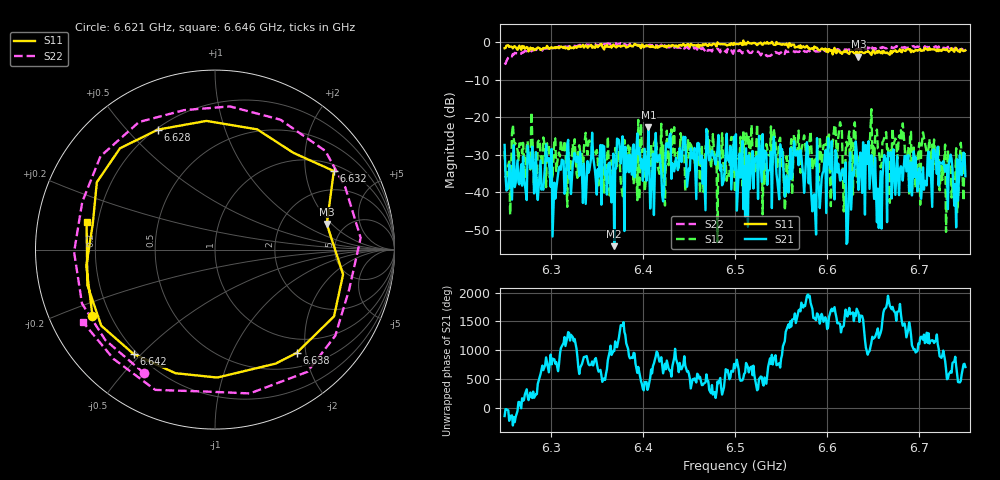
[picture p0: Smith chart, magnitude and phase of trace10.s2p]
# Hz S RI R 50
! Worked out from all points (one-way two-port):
!   401 points, 6.25 GHz to 6.75 GHz, reference 50 ohm
!   highest |S21| = -22.66 dB at 6.406 GHz (marker M1); lowest = -54.4 dB at 6.369 GHz (marker M2)
!   lowest |S11| = -3.9 dB at 6.634 GHz (marker M3), VSWR 4.54, Z = 182 + j87.6 ohm
!   |S11| at or under -10 dB: nowhere
!   |S22| runs from -5.8 to 0.0 dB; largest |S21 - S12| = 0.13
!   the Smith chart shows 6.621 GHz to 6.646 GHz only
!   S11 on the Smith chart (normalised r, x): 6.621 GHz: 0.13, -0.25; 6.628 GHz: 0.21, +0.61; 6.632 GHz: 1.21, +2.86; 6.638 GHz: 0.74, -1.83; 6.642 GHz: 0.19, -0.47; 6.646 GHz: 0.16, +0.10
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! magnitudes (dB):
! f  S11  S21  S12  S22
! 6.25 GHz  -1.6  -27.4  -29.0  -5.5
! 6.334 GHz  -1.1  -35.1  -28.9  -0.8
! 6.369 GHz  -1.1  -54.4  -32.7  -0.4
! 6.375 GHz  -1.0  -28.5  -32.2  -0.5
! 6.406 GHz  -1.1  -22.7  -32.7  -0.8
! 6.418 GHz  -1.3  -30.0  -35.1  -1.1
! 6.5 GHz  -0.6  -34.0  -40.1  -2.5
! 6.541 GHz  -0.2  -30.0  -30.9  -3.0
! 6.556 GHz  -0.4  -35.5  -30.4  -2.6
! 6.566 GHz  -1.3  -30.2  -29.4  -2.5
! 6.584 GHz  -1.6  -45.1  -34.0  -2.4
! 6.604 GHz  -2.3  -33.9  -43.7  -2.3
! 6.621 GHz  -2.2  -53.8  -26.5  -2.0
! 6.628 GHz  -2.6  -34.6  -40.6  -1.7
! 6.632 GHz  -2.0  -29.2  -36.6  -1.8
! 6.634 GHz  -3.9  -39.4  -38.1  -1.7
! 6.638 GHz  -2.7  -40.1  -36.2  -2.2
! 6.642 GHz  -2.6  -27.4  -30.7  -2.0
! 6.646 GHz  -2.7  -39.1  -28.4  -1.5
! 6.656 GHz  -2.3  -49.5  -28.7  -1.6
! 6.668 GHz  -3.4  -29.9  -42.8  -1.3
! 6.75 GHz  -2.2  -35.7  -29.1  -2.2
